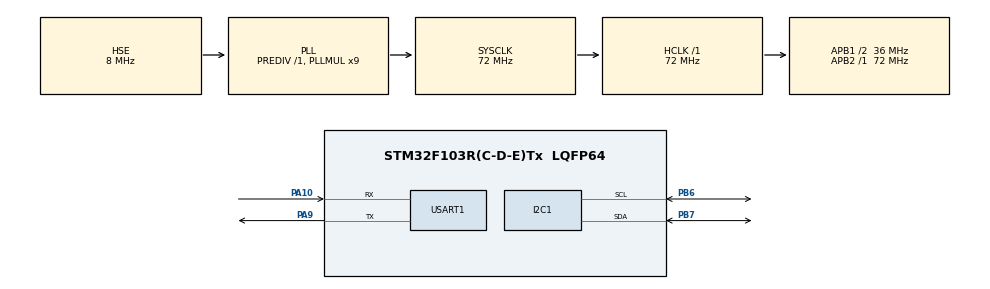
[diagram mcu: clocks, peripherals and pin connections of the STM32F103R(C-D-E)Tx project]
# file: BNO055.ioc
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Mcu.Family=STM32F1
Mcu.Name=STM32F103R(C-D-E)Tx
Mcu.Package=LQFP64
NVIC.PriorityGroup=NVIC_PRIORITYGROUP_4
PA10.Mode=Asynchronous
PA10.Signal=USART1_RX
PA13.Mode=Serial_Wire
PA13.Signal=SYS_JTMS-SWDIO
PA14.Mode=Serial_Wire
PA14.Signal=SYS_JTCK-SWCLK
PA9.Mode=Asynchronous
PA9.Signal=USART1_TX
PB6.Mode=I2C
PB6.Signal=I2C1_SCL
PB7.Mode=I2C
PB7.Signal=I2C1_SDA
PD0-OSC_IN.Mode=HSE-External-Oscillator
PD0-OSC_IN.Signal=RCC_OSC_IN
PD1-OSC_OUT.Mode=HSE-External-Oscillator
PD1-OSC_OUT.Signal=RCC_OSC_OUT
ProjectManager.HeapSize=0x200
ProjectManager.StackSize=0x400
ProjectManager.TargetToolchain=MDK-ARM V5.27
RCC.AHBFreq_Value=72000000
RCC.APB1CLKDivider=RCC_HCLK_DIV2
RCC.APB1Freq_Value=36000000
RCC.APB1TimFreq_Value=72000000
RCC.APB2Freq_Value=72000000
RCC.APB2TimFreq_Value=72000000
RCC.HCLKFreq_Value=72000000
RCC.PLLMUL=RCC_PLL_MUL9
RCC.PLLSourceVirtual=RCC_PLLSOURCE_HSE
RCC.SYSCLKFreq_VALUE=72000000
RCC.SYSCLKSource=RCC_SYSCLKSOURCE_PLLCLK
RCC.USBFreq_Value=72000000
USART1.VirtualMode=VM_ASYNC
board=custom

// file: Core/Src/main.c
/* USER CODE BEGIN Header */
/**
  ******************************************************************************
  * @file           : main.c
  * @brief          : Main program body
  ******************************************************************************
  * @attention
  *
  * <h2><center>&copy; Copyright (c) 2021 STMicroelectronics.
  * All rights reserved.</center></h2>
  *
  * This software component is licensed by ST under BSD 3-Clause license,
  * the "License"; You may not use this file except in compliance with the
  * License. You may obtain a copy of the License at:
  *                        opensource.org/licenses/BSD-3-Clause
  *
  ******************************************************************************
  */
/* USER CODE END Header */
#include "main.h"
#include "i2c.h"
#include "usart.h"
#include "gpio.h"

/* USER CODE BEGIN Includes */
#include "bno055.h"
#include <stdio.h>
/* USER CODE END Includes */

/* USER CODE BEGIN PTD */
struct bno055_t             hbno;
struct bno055_euler_float_t eularData;
uint8_t                     gyro_cali_status = 0;
/* USER CODE END PTD */

void SystemClock_Config(void);

int main(void)
{

  /* MCU Configuration--------------------------------------------------------*/

  /* Reset of all peripherals, Initializes the Flash interface and the Systick. */
  HAL_Init();

  /* Configure the system clock */
  SystemClock_Config();

  /* Initialize all configured peripherals */
  MX_GPIO_Init();
  MX_I2C1_Init();
  MX_USART1_UART_Init();
  /* USER CODE BEGIN 2 */
    hbno.bus_write = BSP_I2C_Transmit;
    hbno.bus_read  = BSP_I2C_Receive;
    hbno.delay_msec = HAL_Delay;
    hbno.dev_addr = BNO055_I2C_ADDR2;
    HAL_Delay(700);
    bno055_init(&hbno);
    bno055_set_sys_rst(BNO055_BIT_ENABLE);
    HAL_Delay(700);
    bno055_init(&hbno);
    printf("BNO055 init success.\n");
    bno055_set_operation_mode(BNO055_OPERATION_MODE_IMUPLUS);
        while (1) {
        bno055_get_gyro_calib_stat(&gyro_cali_status);
        /* 校准完成 */
        if (gyro_cali_status == 3) {
            break;
        }
        printf("BNO055 still is calibrating...\n");
        HAL_Delay(1000);
    }
    printf("BNO055 is fully calibrated.\n");

    printf("MCU start.\n");
  /* USER CODE END 2 */

  /* Infinite loop */
  while (1)
  {

    /* USER CODE BEGIN 3 */
            bno055_convert_float_euler_hpr_deg(&eularData);
        printf("yaw: %3d.%-2d    pitch: %3d.%-2d    roll: %3d.%-2d\n",
               (int)eularData.h, abs((int)(eularData.h * 100) % 100),
               (int)eularData.p, abs((int)(eularData.p * 100) % 100),
               (int)eularData.r, abs((int)(eularData.r * 100) % 100));
        // printf("%c%c%c\n", (int)(eularData.p), (int)(eularData.r),
        //        (int)(eularData.h));
        HAL_Delay(10);
  }
  /* USER CODE END 3 */
}

void SystemClock_Config(void)
{
  RCC_OscInitTypeDef RCC_OscInitStruct = {0};
  RCC_ClkInitTypeDef RCC_ClkInitStruct = {0};

  /** Initializes the RCC Oscillators according to the specified parameters
  * in the RCC_OscInitTypeDef structure.
  */
  RCC_OscInitStruct.OscillatorType = RCC_OSCILLATORTYPE_HSE;
  RCC_OscInitStruct.HSEState = RCC_HSE_ON;
  RCC_OscInitStruct.HSEPredivValue = RCC_HSE_PREDIV_DIV1;
  RCC_OscInitStruct.HSIState = RCC_HSI_ON;
  RCC_OscInitStruct.PLL.PLLState = RCC_PLL_ON;
  RCC_OscInitStruct.PLL.PLLSource = RCC_PLLSOURCE_HSE;
  RCC_OscInitStruct.PLL.PLLMUL = RCC_PLL_MUL9;
  if (HAL_RCC_OscConfig(&RCC_OscInitStruct) != HAL_OK)
  {
    Error_Handler();
  }
  /** Initializes the CPU, AHB and APB buses clocks
  */
  RCC_ClkInitStruct.ClockType = RCC_CLOCKTYPE_HCLK|RCC_CLOCKTYPE_SYSCLK
                              |RCC_CLOCKTYPE_PCLK1|RCC_CLOCKTYPE_PCLK2;
  RCC_ClkInitStruct.SYSCLKSource = RCC_SYSCLKSOURCE_PLLCLK;
  RCC_ClkInitStruct.AHBCLKDivider = RCC_SYSCLK_DIV1;
  RCC_ClkInitStruct.APB1CLKDivider = RCC_HCLK_DIV2;
  RCC_ClkInitStruct.APB2CLKDivider = RCC_HCLK_DIV1;

  if (HAL_RCC_ClockConfig(&RCC_ClkInitStruct, FLASH_LATENCY_2) != HAL_OK)
  {
    Error_Handler();
  }
}

/* USER CODE BEGIN 4 */
int fputc (int ch,FILE *f)
{
  HAL_UART_Transmit(&huart1,(uint8_t *)&ch,1,0xffff);
  return ch;
}
/* USER CODE END 4 */

void Error_Handler(void)
{
  __disable_irq();
  while (1)
  {
  }
}

/************************ (C) COPYRIGHT STMicroelectronics *****END OF FILE****/
